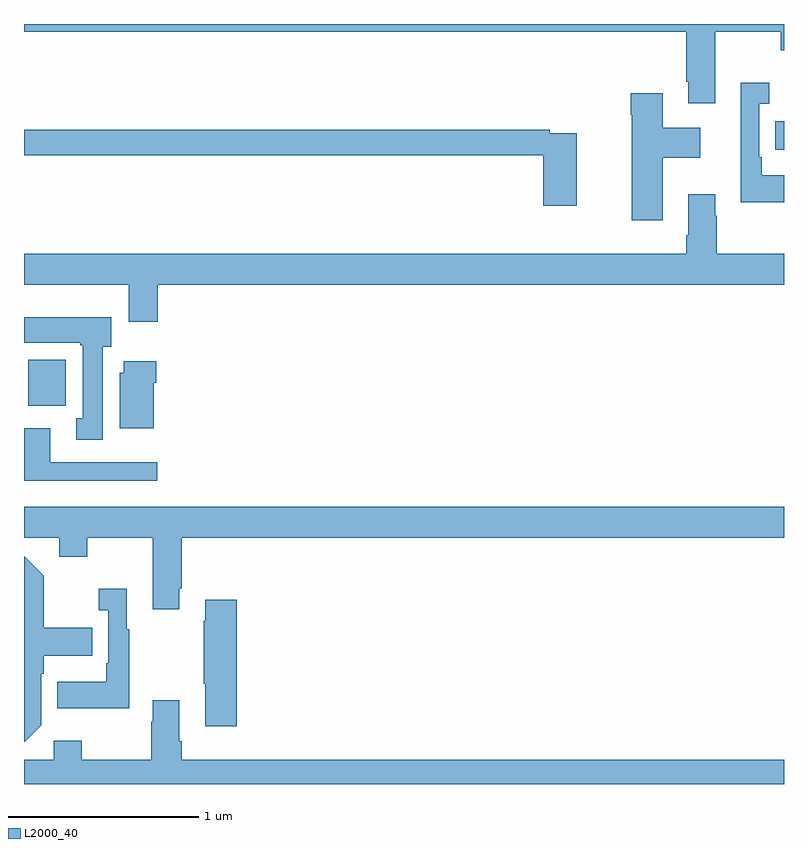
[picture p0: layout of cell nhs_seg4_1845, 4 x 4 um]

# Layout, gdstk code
import gdstk
lib = gdstk.Library(unit=1e-6, precision=1e-09)
def R(c, l, rs):  # rectangles x0, y0, x1, y1
    for r in rs: c.add(gdstk.rectangle(r[:2], r[2:], *l))
def P(c, l, *ps):  # polygons
    for p in ps: c.add(gdstk.Polygon(p, *l))
L2000_40 = (2000, 40)

nhs_seg4_1845 = lib.new_cell('nhs_seg4_1845')
R(nhs_seg4_1845, L2000_40, [(207.023,754.892,207.22,755.134), (210.955,756.239,211,756.387)])
P(nhs_seg4_1845, L2000_40, [(210.637,756.86),(210.982,756.86),(210.982,756.761),(211,756.761),(211,756.9),(207,756.9),(207,756.86),(210.485,756.86),(210.485,756.595),(210.497,756.595),(210.497,756.483),(210.637,756.483)],
  [(211,756.103),(210.883,756.103),(210.883,756.199),(210.87,756.199),(210.87,756.479),(210.922,756.479),(210.922,756.592),(210.773,756.592),(210.773,755.963),(211,755.963)],
  [(210.361,756.197),(210.559,756.197),(210.559,756.355),(210.361,756.355),(210.361,756.535),(210.194,756.535),(210.194,756.422),(210.199,756.422),(210.199,755.868),(210.361,755.868)],
  [(209.91,756.324),(209.768,756.324),(209.768,756.344),(207,756.344),(207,756.208),(209.732,756.208),(209.732,755.943),(209.91,755.943)],
  [(207.704,755.528),(211,755.528),(211,755.692),(210.645,755.692),(210.645,755.891),(210.637,755.891),(210.637,756.004),(210.497,756.004),(210.497,755.788),(210.485,755.788),(210.485,755.692),(207,755.692),(207,755.528),(207.551,755.528),(207.551,755.334),(207.704,755.334)],
  [(207.415,755.202),(207.46,755.202),(207.46,755.356),(207,755.356),(207,755.222),(207.295,755.222),(207.295,755.209),(207.308,755.209),(207.308,754.826),(207.275,754.826),(207.275,754.713),(207.415,754.713)],
  [(207.682,755.012),(207.695,755.012),(207.695,755.125),(207.524,755.125),(207.524,755.064),(207.503,755.064),(207.503,754.772),(207.682,754.772)],
  [(207.7,754.593),(207.139,754.593),(207.139,754.773),(207,754.773),(207,754.496),(207.7,754.496)],
  [(207.817,753.931),(207.83,753.931),(207.83,754.196),(211,754.196),(211,754.36),(207,754.36),(207,754.196),(207.185,754.196),(207.185,754.097),(207.333,754.097),(207.333,754.196),(207.677,754.196),(207.677,753.819),(207.817,753.819)],
  [(207.09,753.21),(207.09,753.479),(207.103,753.479),(207.103,753.575),(207.359,753.575),(207.359,753.723),(207.103,753.723),(207.103,753.995),(207,754.098),(207,753.123),(207.003,753.123)],
  [(207.553,753.715),(207.541,753.715),(207.541,753.928),(207.393,753.928),(207.393,753.815),(207.444,753.815),(207.444,753.535),(207.432,753.535),(207.432,753.439),(207.175,753.439),(207.175,753.299),(207.553,753.299)],
  [(208.121,753.871),(207.953,753.871),(207.953,753.758),(207.946,753.758),(207.946,753.427),(207.953,753.427),(207.953,753.204),(208.121,753.204)],
  [(211,753.028),(207.83,753.028),(207.83,753.124),(207.817,753.124),(207.817,753.34),(207.677,753.34),(207.677,753.227),(207.67,753.227),(207.67,753.028),(207.303,753.028),(207.303,753.127),(207.156,753.127),(207.156,753.028),(207,753.028),(207,752.9),(211,752.9)])

lib.write_gds('nhs_seg4_1845.gds')
